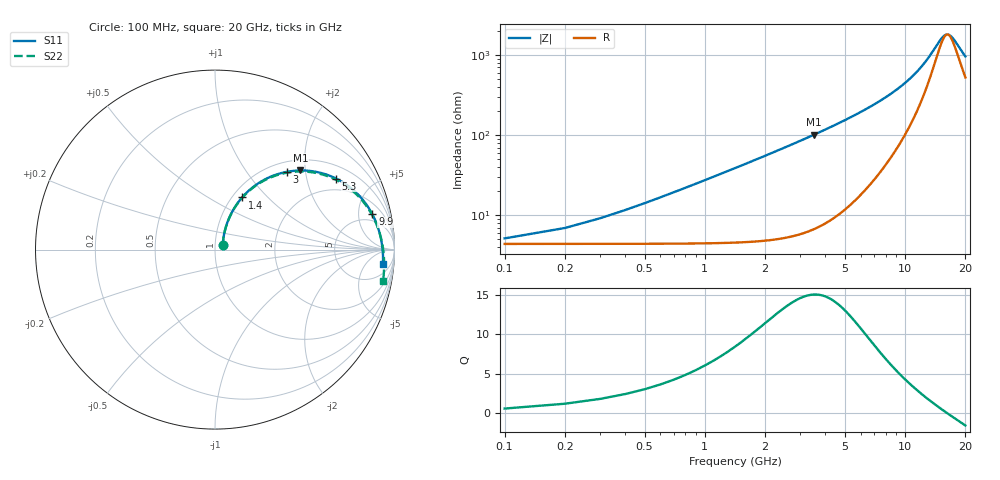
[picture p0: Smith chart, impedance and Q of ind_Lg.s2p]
! Touchstone Ver. 1.0
! Number of ports is 2
# Hz	S	RI	R	50.000000
! SCATTERING PARAMETERS  :
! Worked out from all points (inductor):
!   200 points, 100 MHz to 20 GHz, reference 50 ohm
!   read as 1/Y11, port 2 shorted: L = 4.29 nH near 500 MHz
!   highest Q = 15 at 3.5 GHz (marker M1), where L = 4.58 nH
!   self-resonance near 16.28 GHz
!   S11 on the Smith chart (normalised r, x): 100 MHz: 1.09, +0.05; 1.4 GHz: 1.11, +0.72; 3 GHz: 1.19, +1.59; 5.3 GHz: 1.48, +3.02; 9.9 GHz: 3.57, +7.30; 20 GHz: 11, -15
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1e8  0.0428 0.0235  0.9572 -0.0259  0.9572 -0.0259  0.0428 0.0234
3e8  0.0477 0.07  0.952 -0.0774  0.952 -0.0774  0.0478 0.07
4e8  0.052 0.0929  0.9475 -0.1027  0.9475 -0.1027  0.0522 0.0928
6e8  0.0641 0.1376  0.9348 -0.1522  0.9348 -0.1522  0.0644 0.1374
8e8  0.0805 0.1802  0.9175 -0.1995  0.9175 -0.1995  0.0811 0.18
1e9  0.1008 0.2202  0.8962 -0.2441  0.8962 -0.2441  0.1017 0.2198
1.4e9  0.1511 0.2907  0.8432 -0.3235  0.8432 -0.3235  0.1527 0.29
1.7e9  0.195 0.3344  0.7968 -0.3735  0.7968 -0.3735  0.1972 0.3333
2.1e9  0.2582 0.3799  0.7299 -0.4267  0.7299 -0.4267  0.2614 0.378
2.5e9  0.3231 0.4114  0.6609 -0.4653  0.6609 -0.4653  0.3273 0.4087
3e9  0.4023 0.4339  0.5764 -0.4956  0.5764 -0.4956  0.4077 0.4298
3.5e9  0.4756 0.441  0.4976 -0.5096  0.4976 -0.5096  0.4823 0.4353
4.4e9  0.5879 0.4278  0.3758 -0.5067  0.3758 -0.5067  0.5969 0.4188
5.3e9  0.6747 0.3959  0.2804 -0.4829  0.2804 -0.4829  0.6857 0.3829
6e9  0.7272 0.3654  0.2221 -0.4578  0.2221 -0.4578  0.7395 0.349
6.8e9  0.7742 0.3287  0.169 -0.4266  0.169 -0.4266  0.7879 0.3081
8.2e9  0.8326 0.2659  0.1021 -0.3723  0.1021 -0.3723  0.8478 0.2374
9.9e9  0.8767 0.1968  0.05 -0.3128  0.05 -0.3128  0.8925 0.1584
1.01e10  0.8806 0.1892  0.0454 -0.3063  0.0454 -0.3063  0.8963 0.1497
1.34e10  0.9203 0.0803  -0.00456 -0.2162  -0.00456 -0.2162  0.9338 0.0215
1.67e10  0.9343 -0.00666  -0.0256 -0.1494  -0.0256 -0.1494  0.9424 -0.0837
2e10  0.9361 -0.0795  -0.0331 -0.0978  -0.0331 -0.0978  0.9365 -0.1736
